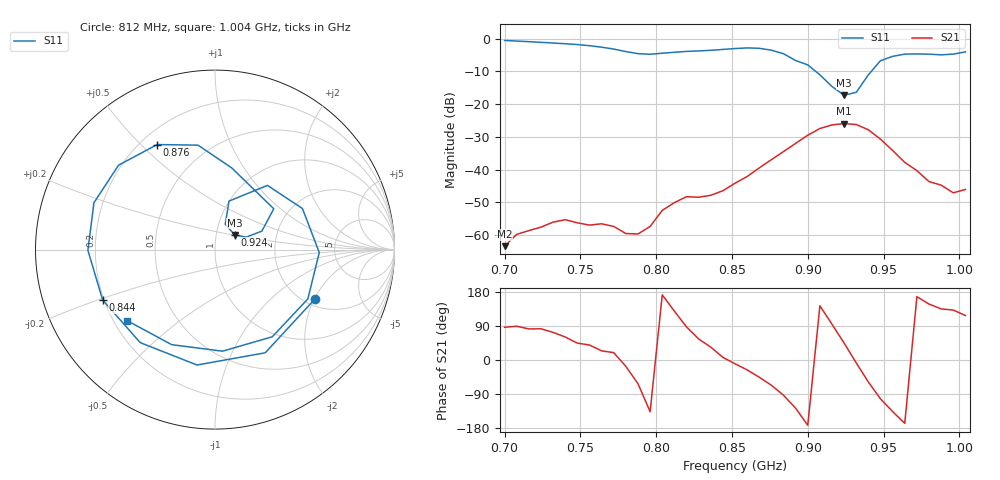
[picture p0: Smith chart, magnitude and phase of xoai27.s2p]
# Hz S RI R 50
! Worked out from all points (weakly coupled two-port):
!   39 points, 700 MHz to 1.004 GHz, reference 50 ohm
!   highest |S21| = -25.91 dB at 924 MHz (marker M1); lowest = -63.3 dB at 700 MHz (marker M2)
!   lowest |S11| = -17.2 dB at 924 MHz (marker M3), VSWR 1.32, Z = 61.4 + j10.3 ohm
!   |S11| at or under -10 dB: 905.3 MHz to 941.9 MHz (36.59 MHz wide, 3.96 % of centre)
!   S12 and S22 are empty: the file has one direction only
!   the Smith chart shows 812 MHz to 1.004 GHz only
!   S11 on the Smith chart (normalised r, x): 812 MHz: 2.25, -2.02; 844 MHz: 0.19, -0.21; 876 MHz: 0.26, +0.56; 924 MHz: 1.23, +0.21; 1.004 GHz: 0.25, -0.33
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7e8  0.7617 0.5513  4.23e-05 0.00068  0 0  0 0
7.24e8  0.8451 -0.2464  0.000177 0.00132  0 0  0 0
7.4e8  0.4579 -0.7011  0.000845 0.00151  0 0  0 0
7.56e8  -0.1927 -0.7583  0.0011 0.000911  0 0  0 0
7.72e8  -0.666 -0.1987  0.00129 0.000453  0 0  0 0
7.8e8  -0.5944 0.2269  0.00102 -0.000308  0 0  0 0
7.88e8  -0.2475 0.5368  0.000482 -0.000929  0 0  0 0
7.96e8  0.2402 0.5269  -0.000987 -0.000938  0 0  0 0
8.04e8  0.5731 0.1785  -0.00238 0.000342  0 0  0 0
8.12e8  0.5559 -0.2763  -0.00198 0.00245  0 0  0 0
8.28e8  -0.1003 -0.6431  0.00215 0.00314  0 0  0 0
8.44e8  -0.6261 -0.2803  0.00475 0.000578  0 0  0 0
8.52e8  -0.7081 -0.00384  0.00613 -0.00107  0 0  0 0
8.76e8  -0.3223 0.5853  0.00565 -0.0131  0 0  0 0
9e8  0.3274 0.2275  -0.0334 -0.0045  0 0  0 0
9.08e8  0.2614 0.1031  -0.034 0.0256  0 0  0 0
9.24e8  0.11 0.0821  0.0361 0.0356  0 0  0 0
9.4e8  0.0781 0.2702  0.0214 -0.0346  0 0  0 0
9.56e8  0.487 0.229  -0.0142 -0.0136  0 0  0 0
9.64e8  0.581 -0.0165  -0.0126 -0.00284  0 0  0 0
9.8e8  0.3195 -0.4855  -0.00556 0.00354  0 0  0 0
1.004e9  -0.4891 -0.3959  -0.0023 0.00444  0 0  0 0
